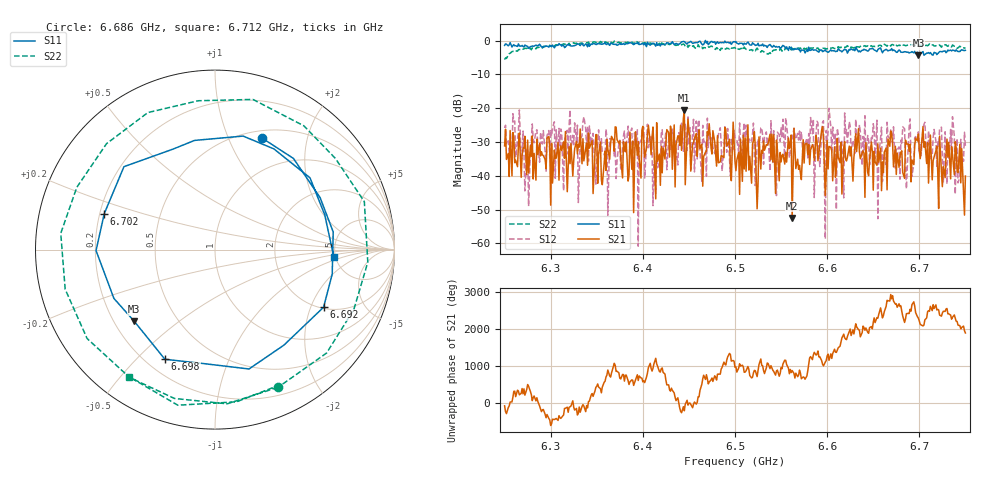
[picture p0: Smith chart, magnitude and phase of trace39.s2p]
# Hz S RI R 50
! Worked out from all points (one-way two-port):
!   401 points, 6.25 GHz to 6.75 GHz, reference 50 ohm
!   highest |S21| = -20.68 dB at 6.445 GHz (marker M1); lowest = -52.5 dB at 6.562 GHz (marker M2)
!   lowest |S11| = -4.4 dB at 6.699 GHz (marker M3), VSWR 4.02, Z = 14.1 - j17.7 ohm
!   |S11| at or under -10 dB: nowhere
!   |S22| runs from -5.6 to -0.1 dB; largest |S21 - S12| = 0.14
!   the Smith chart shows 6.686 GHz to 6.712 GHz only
!   S11 on the Smith chart (normalised r, x): 6.686 GHz: 0.59, +1.34; 6.692 GHz: 2.05, -2.48; 6.698 GHz: 0.27, -0.61; 6.702 GHz: 0.22, +0.15; 6.712 GHz: 4.83, -0.70
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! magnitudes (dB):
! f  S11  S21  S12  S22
! 6.25 GHz  -1.4  -31.2  -25.8  -5.6
! 6.268 GHz  -1.7  -40.4  -34.9  -2.6
! 6.274 GHz  -1.7  -39.7  -32.5  -2.4
! 6.282 GHz  -1.6  -33.4  -30.2  -2.1
! 6.334 GHz  -0.8  -36.4  -28.2  -0.8
! 6.418 GHz  -1.2  -33.6  -35.9  -0.8
! 6.445 GHz  -0.3  -20.7  -29.5  -1.2
! 6.5 GHz  -0.4  -35.8  -28.7  -2.1
! 6.542 GHz  -1.5  -27.9  -26.6  -2.9
! 6.562 GHz  -2.7  -52.5  -29.1  -2.3
! 6.584 GHz  -2.6  -30.8  -27.6  -2.2
! 6.651 GHz  -2.8  -32.8  -26.5  -1.7
! 6.658 GHz  -2.2  -31.8  -28.8  -1.4
! 6.668 GHz  -2.9  -31.3  -29.0  -1.4
! 6.686 GHz  -3.4  -30.6  -43.9  -1.5
! 6.692 GHz  -3.3  -35.3  -40.2  -1.3
! 6.698 GHz  -3.5  -29.7  -29.7  -1.4
! 6.699 GHz  -4.4  -27.6  -27.0  -1.6
! 6.702 GHz  -3.8  -32.0  -34.0  -1.5
! 6.712 GHz  -3.6  -28.0  -34.9  -1.4
! 6.738 GHz  -3.0  -39.7  -28.3  -1.7
! 6.75 GHz  -2.9  -40.1  -31.2  -2.3
